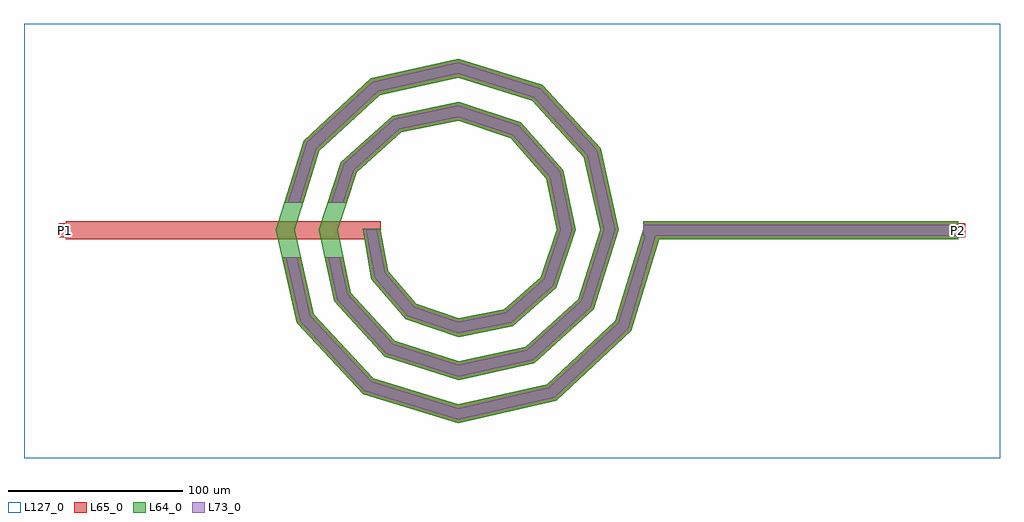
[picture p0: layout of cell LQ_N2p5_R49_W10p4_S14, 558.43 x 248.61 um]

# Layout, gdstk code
import gdstk
lib = gdstk.Library(unit=1e-6, precision=1e-09)
def R(c, l, rs):  # rectangles x0, y0, x1, y1
    for r in rs: c.add(gdstk.rectangle(r[:2], r[2:], *l))
def P(c, l, *ps):  # polygons
    for p in ps: c.add(gdstk.Polygon(p, *l))
L64_0 = (64, 0)
L65_0 = (65, 0)
L73_0 = (73, 0)
L127_0 = (127, 0)

lq_n2p5_r49_w10p4_s14 = lib.new_cell('LQ_N2p5_R49_W10p4_S14')
R(lq_n2p5_r49_w10p4_s14, L64_0, [(106.066,-5.2,286.066,5.2)])
P(lq_n2p5_r49_w10p4_s14, L64_0, [(-39.854,-23.471),(-23.82,-42.026),(0.37,-50.361),(26.518,-45.216),(47.348,-26.938),(56.53,0.333),(50.575,29.572),(30.05,52.674),(0.303,62.698),(-32.632,55.932),(-58.003,33.158),(-68.867,0.278),(-61.286,-35.696),(-36.262,-63.334),(0.257,-75.037),(38.763,-66.639),(68.668,-39.363),(81.206,0.238),(71.991,41.833),(42.462,74.002),(0.223,87.376),(-44.905,77.342),(-79.338,45.56),(-93.545,0.209),(-82.692,-47.978),(-48.656,-84.675),(0.196,-99.715),(51.053,-88.041),(90.013,-51.75),(106.293,1.52),(116.239,-1.52),(99.143,-57.459),(56.1,-97.553),(0.196,-110.476),(-54.383,-93.794),(-92.215,-53.004),(-104.305,0.209),(-88.443,51.309),(-49.907,86.877),(0.223,98.135),(48.236,83.092),(81.541,46.809),(91.964,0.238),(77.74,-45.165),(43.708,-76.206),(0.257,-85.793),(-42.096,-72.386),(-70.871,-40.605),(-79.622,0.278),(-67.03,39.03),(-37.499,65.539),(0.303,73.451),(35.967,61.672),(60.208,34.389),(67.279,0.333),(56.311,-32.909),(31.273,-54.88),(0.37,-61.107),(-29.857,-50.946),(-49.556,-28.15),(-54.674,0.962),(-44.454,0.962)])
R(lq_n2p5_r49_w10p4_s14, L65_0, [(-224.364,-5.2,-44.364,5.2), (106.066,-5.2,286.066,5.2), (-228.364,-4,-220.364,4), (282.066,-4,290.066,4)])
P(lq_n2p5_r49_w10p4_s14, L65_0, [(-82.692,-47.978),(-48.656,-84.675),(0.197,-99.715),(51.053,-88.041),(90.013,-51.751),(106.293,1.52),(116.239,-1.52),(99.143,-57.459),(56.1,-97.553),(0.197,-110.476),(-54.383,-93.794),(-92.215,-53.004),(-100.713,-15.6),(-90.048,-15.6)],
  [(-61.287,-35.696),(-36.262,-63.334),(0.257,-75.037),(38.763,-66.639),(68.668,-39.363),(81.206,0.239),(71.991,41.833),(42.462,74.002),(0.223,87.376),(-44.905,77.342),(-79.338,45.56),(-88.638,15.6),(-99.528,15.6),(-88.443,51.309),(-49.907,86.877),(0.223,98.135),(48.236,83.092),(81.541,46.809),(91.964,0.239),(77.74,-45.165),(43.708,-76.206),(0.257,-85.793),(-42.096,-72.386),(-70.871,-40.605),(-76.223,-15.6),(-65.588,-15.6)],
  [(-23.82,-42.026),(0.37,-50.362),(26.518,-45.216),(47.348,-26.938),(56.53,0.333),(50.576,29.572),(30.05,52.674),(0.303,62.698),(-32.632,55.932),(-58.003,33.158),(-63.708,15.6),(-74.643,15.6),(-67.03,39.03),(-37.499,65.539),(0.303,73.451),(35.967,61.672),(60.208,34.389),(67.279,0.333),(56.311,-32.909),(31.273,-54.88),(0.37,-61.107),(-29.857,-50.946),(-49.556,-28.15),(-54.674,0.962),(-44.454,0.962),(-39.854,-23.471)])
R(lq_n2p5_r49_w10p4_s14, L73_0, [(106.066,-3.2,286.066,3.2)])
P(lq_n2p5_r49_w10p4_s14, L73_0, [(-84.523,-48.945),(-49.757,-86.429),(0.121,-101.785),(52.023,-89.87),(91.769,-52.848),(108.206,0.935),(114.326,0.935),(97.387,-56.361),(55.129,-95.723),(0.121,-108.407),(-53.282,-92.04),(-90.383,-52.038),(-98.662,-15.6),(-92.099,-15.6)],
  [(-63.13,-36.64),(-37.384,-65.075),(0.158,-77.105),(39.714,-68.479),(70.412,-40.479),(83.275,0.147),(73.828,42.79),(43.573,75.75),(0.137,89.445),(-45.867,79.176),(-81.089,46.665),(-90.732,15.6),(-97.434,15.6),(-86.692,50.203),(-48.945,85.044),(0.137,96.066),(47.126,81.344),(79.704,45.852),(89.895,0.147),(75.995,-44.049),(42.757,-74.366),(0.158,-83.725),(-40.974,-70.645),(-69.028,-39.661),(-74.178,-15.6),(-67.633,-15.6)],
  [(-24.981,-43.741),(0.228,-52.428),(27.432,-47.075),(49.072,-28.087),(58.597,0.205),(52.428,30.499),(31.188,54.404),(0.187,64.766),(-33.568,57.779),(-59.739,34.287),(-65.811,15.6),(-72.54,15.6),(-65.294,37.901),(-36.563,63.691),(0.187,71.383),(34.83,59.942),(58.356,33.462),(65.212,0.205),(54.587,-31.761),(30.359,-53.022),(0.228,-59.04),(-28.696,-49.231),(-47.69,-27.25),(-52.709,0.592),(-46.419,0.592),(-41.72,-24.371)])
R(lq_n2p5_r49_w10p4_s14, L127_0, [(-248.364,-130.476,310.066,118.135)])
lq_n2p5_r49_w10p4_s14.add(gdstk.Label('P2', (286.066,0), layer=65, texttype=0))
lq_n2p5_r49_w10p4_s14.add(gdstk.Label('P1', (-224.364,0), layer=65, texttype=0))
lq_n2p5_r49_w10p4_s14.add(gdstk.Label('P2', (290.066,0), layer=145, texttype=0))
lq_n2p5_r49_w10p4_s14.add(gdstk.Label('P1', (-228.364,0), layer=145, texttype=0))

lib.write_gds('LQ_N2p5_R49_W10p4_S14.gds')
